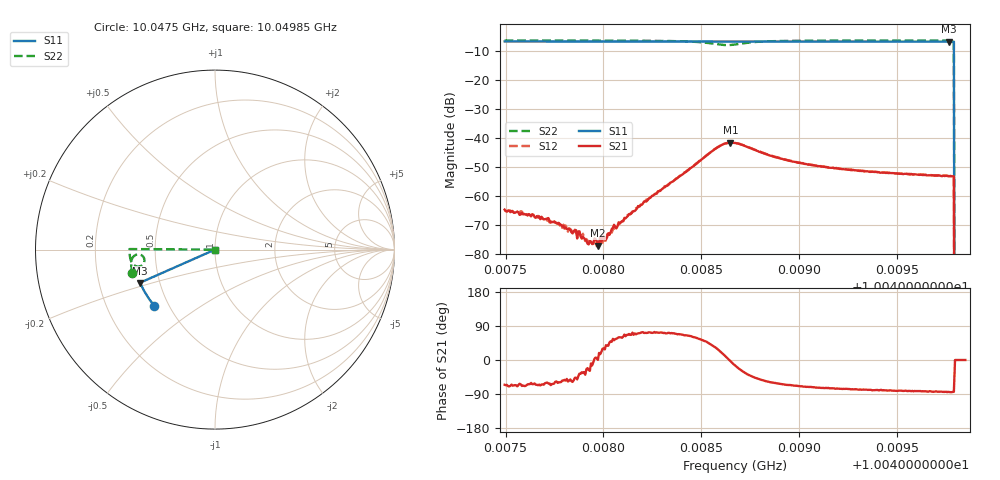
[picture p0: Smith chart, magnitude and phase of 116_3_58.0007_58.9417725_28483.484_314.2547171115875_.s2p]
#  HZ  S  RI  R  50.00
! Rohde & Schwarz Vector Network Analyzer
! Rohde-Schwarz,ZNB20-2Port,1311601062101988,3.16
! Created: UTC 3/21/2024, 12:55:25 AM
! freq[Hz]  re:S11  im:S11  re:S21  im:S21  re:S12  im:S12  re:S22  im:S22
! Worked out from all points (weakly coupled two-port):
!   401 points, 10.0475 GHz to 10.04985 GHz, reference 50 ohm
!   highest |S21| = -41.56 dB at 10.04865 GHz (marker M1); lowest = -77.1 dB at 10.04797 GHz (marker M2)
!   lowest |S11| = -6.8 dB at 10.04977 GHz (marker M3), VSWR 2.68, Z = 19.4 - j9.09 ohm
!   |S11| at or under -10 dB: 10.04979 GHz to end of sweep
!   |S22| runs from - to -6.4 dB; largest |S21 - S12| = 0.00057
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1.0047495e10  -0.3374 -0.3126  0.000243 -0.000534  0.000263 -0.000497  -0.46 -0.1296
1.0047572e10  -0.3409 -0.3088  0.000219 -0.000424  0.000241 -0.000469  -0.4613 -0.1243
1.0047713e10  -0.347 -0.3015  0.000209 -0.000355  0.000182 -0.000334  -0.4635 -0.114
1.0047796e10  -0.3505 -0.2973  0.000181 -0.000248  0.000179 -0.000268  -0.4646 -0.1079
1.004789e10  -0.3541 -0.2923  0.000157 -9.95e-05  0.000177 -9.93e-05  -0.4655 -0.1005
1.0047931e10  -0.3558 -0.2901  0.000148 -8.05e-05  0.000158 -6.25e-05  -0.466 -0.097
1.0047973e10  -0.3575 -0.2879  0.00014 1.13e-06  0.000149 2.11e-05  -0.4664 -0.0937
1.0048002e10  -0.3586 -0.2862  0.000175 0.000106  0.000149 9.61e-05  -0.4667 -0.0912
1.0048026e10  -0.3597 -0.285  0.000183 0.000141  0.000168 0.000151  -0.4668 -0.0892
1.0048049e10  -0.3605 -0.2839  0.000161 0.000236  0.00018 0.000201  -0.467 -0.0871
1.004812e10  -0.3635 -0.2802  0.000177 0.0004  0.000168 0.000425  -0.4673 -0.0807
1.0048285e10  -0.3697 -0.2711  0.000386 0.00116  0.000296 0.00118  -0.4658 -0.0629
1.0048573e10  -0.3798 -0.2548  0.00548 0.00358  0.00531 0.0039  -0.4148 -0.0287
1.004865e10  -0.3821 -0.2508  0.00835 -0.000444  0.00838 9.07e-05  -0.3936 -0.0665
1.0048673e10  -0.3829 -0.2498  0.00798 -0.00204  0.00816 -0.00157  -0.3995 -0.08
1.0048886e10  -0.3906 -0.2381  0.00222 -0.00406  0.00246 -0.00401  -0.4597 -0.0778
1.0049068e10  -0.3965 -0.2275  0.00107 -0.00323  0.00127 -0.00323  -0.4702 -0.056
1.0049463e10  -0.4083 -0.2042  0.000416 -0.00248  0.000554 -0.00245  -0.4757 -0.0216
1.0049769e10  -0.4165 -0.1855  0.000209 -0.00218  0.000331 -0.00219  -0.4764 0.00133
1.0049781e10  -0.4168 -0.185  0.00019 -0.00219  0.000342 -0.00221  -0.4763 0.00223
1.004981e10  0 0  0 0  0 0  0 0
1.0049852e10  0 0  0 0  0 0  0 0
